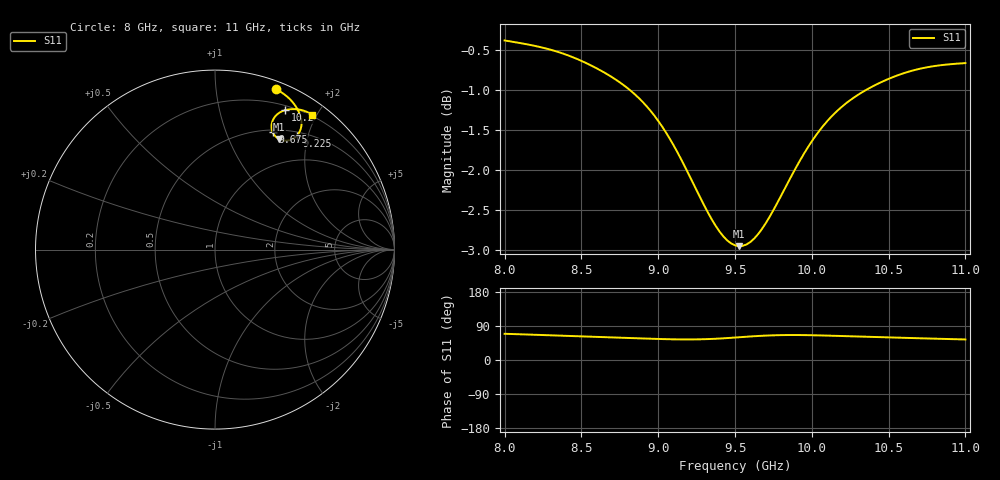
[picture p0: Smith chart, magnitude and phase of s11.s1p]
! NobuRF balanis-ex14.1-patch-far-field-book-ground-ff: port "feed", 5400 steps
# GHz S RI R 50
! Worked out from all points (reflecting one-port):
!   121 points, 8 GHz to 11 GHz, reference 50 ohm
!   lowest |S11| = -3.0 dB at 9.525 GHz (marker M1), VSWR 5.94, Z = 31.1 + j77.6 ohm
!   phase of S11 starts at 69 deg and turns -15 deg over the sweep
!   S11 on the Smith chart (normalised r, x): 8 GHz: 0.07, +1.45; 9.225 GHz: 0.56, +1.81; 9.675 GHz: 0.53, +1.47; 10.2 GHz: 0.25, +1.60; 11 GHz: 0.18, +1.94
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8  0.3402 0.8942
8.2  0.3781 0.8706
8.375  0.4102 0.8449
8.575  0.4422 0.8087
8.75  0.465 0.7715
8.875  0.4773 0.7399
8.975  0.4821 0.7106
9.05  0.4808 0.6868
9.125  0.474 0.6627
9.225  0.455 0.6336
9.3  0.4339 0.6173
9.375  0.4085 0.6081
9.425  0.3906 0.6068
9.5  0.3643 0.6124
9.525  0.3562 0.6162
9.6  0.3352 0.6327
9.675  0.3212 0.6549
9.775  0.315 0.6887
9.875  0.3224 0.721
9.95  0.3347 0.7412
10.025  0.3507 0.7569
10.1  0.3684 0.7681
10.2  0.3923 0.7771
10.25  0.4038 0.7796
10.425  0.4415 0.7825
10.625  0.4811 0.7776
10.8  0.5119 0.7671
11  0.5411 0.7516
